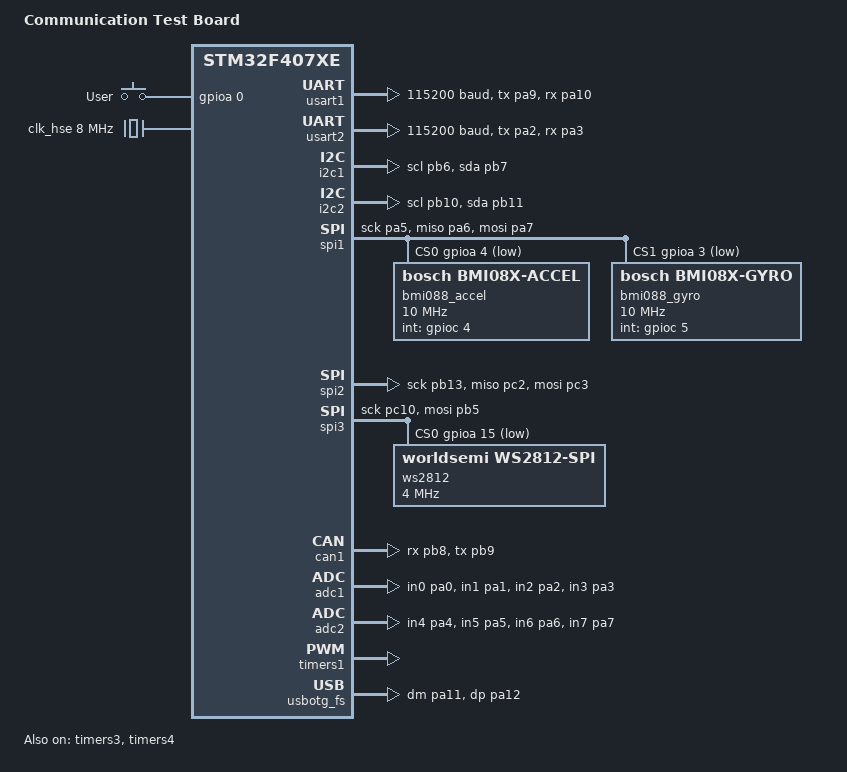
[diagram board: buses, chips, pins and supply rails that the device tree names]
/*
 * SPDX-License-Identifier: Apache-2.0
 */

/dts-v1/;
#include <st/f4/stm32f407Xe.dtsi>
#include <st/f4/stm32f407v(e-g)tx-pinctrl.dtsi>
#include <zephyr/dt-bindings/input/input-event-codes.h>
#include <zephyr/dt-bindings/led/led.h>

/ {
	model = "Communication Test Board";
	compatible = "communication-test";

	chosen {
		zephyr,console = &usart1;
		zephyr,shell-uart = &usart1;
		zephyr,sram = &sram0;
		zephyr,flash = &flash0;
		zephyr,dtcm = &ccm0;
		zephyr,led-strip = &ws2812;
	};

	gpio_keys {
		compatible = "gpio-keys";

		user_button: button {
			label = "User";
			gpios = <&gpioa 0 GPIO_ACTIVE_HIGH>;
			zephyr,code = <INPUT_KEY_0>;
		};
	};

	aliases {
		sw0 = &user_button;
		zephyr-usbbus = &usbotg_fs;
		zephyr-watchdog = &iwdg;
		zephyr-spi1 = &spi1;
		zephyr-spi2 = &spi2;
		zephyr-i2c1 = &i2c1;
		zephyr-i2c2 = &i2c2;
		zephyr-uart1 = &usart1;
		zephyr-uart2 = &usart2;
		zephyr-can1 = &can1;
		zephyr-adc1 = &adc1;
		zephyr-adc2 = &adc2;
		zephyr-imu0-accel = &bmi088_accel;
		zephyr-imu0-gyro = &bmi088_gyro;
		zephyr-pwm-motor = &timers1_pwm;
		zephyr-qdec0 = &qdec0;
		zephyr-qdec1 = &qdec1;
	};
};

/* HSE — 8 MHz crystal (typical for STM32F407 boards) */
&clk_hse {
	clock-frequency = <DT_FREQ_M(8)>;
	status = "okay";
};

&pll {
	div-m = <8>;
	mul-n = <336>;
	div-p = <2>;
	div-q = <7>;
	clocks = <&clk_hse>;
	status = "okay";
};

&rcc {
	clocks = <&pll>;
	clock-frequency = <DT_FREQ_M(168)>;
	ahb-prescaler = <1>;
	apb1-prescaler = <4>;
	apb2-prescaler = <2>;
};

/* ── USART ──────────────────────────────────────────────────────────────── */

/* USART1 — console (PA9/PA10) */
&usart1 {
	pinctrl-0 = <&usart1_tx_pa9 &usart1_rx_pa10>;
	pinctrl-names = "default";
	current-speed = <115200>;
	status = "okay";
};

/* USART2 — additional UART (PA2/PA3) */
&usart2 {
	pinctrl-0 = <&usart2_tx_pa2 &usart2_rx_pa3>;
	pinctrl-names = "default";
	current-speed = <115200>;
	status = "okay";
};

/* ── I2C ────────────────────────────────────────────────────────────────── */

/* I2C1 (PB6/PB7) */
&i2c1 {
	pinctrl-0 = <&i2c1_scl_pb6 &i2c1_sda_pb7>;
	pinctrl-names = "default";
	status = "okay";
};

/* I2C2 (PB10/PB11) */
&i2c2 {
	pinctrl-0 = <&i2c2_scl_pb10 &i2c2_sda_pb11>;
	pinctrl-names = "default";
	status = "okay";
};

/* ── SPI ────────────────────────────────────────────────────────────────── */

/* SPI1 (PA5/PA6/PA7) — BMI088 accel + gyro */
&spi1 {
	pinctrl-0 = <&spi1_sck_pa5 &spi1_miso_pa6 &spi1_mosi_pa7>;
	pinctrl-names = "default";
	cs-gpios = <&gpioa 4 GPIO_ACTIVE_LOW   /* accel CS */
		    &gpioa 3 GPIO_ACTIVE_LOW>;  /* gyro CS  */
	status = "okay";

	bmi088_accel: bmi088-accel@0 {
		compatible = "bosch,bmi08x-accel";
		reg = <0>;
		spi-max-frequency = <DT_FREQ_M(10)>;
		accel-fs = <16>;
		accel-hz = "1600";
		int-gpios = <&gpioc 4 GPIO_ACTIVE_HIGH>;
	};

	bmi088_gyro: bmi088-gyro@1 {
		compatible = "bosch,bmi08x-gyro";
		reg = <1>;
		spi-max-frequency = <DT_FREQ_M(10)>;
		gyro-fs = <2000>;
		gyro-hz = "2000_532";
		int-gpios = <&gpioc 5 GPIO_ACTIVE_HIGH>;
	};
};

/* SPI2 (PB13/PC2/PC3) */
&spi2 {
	pinctrl-0 = <&spi2_sck_pb13 &spi2_miso_pc2 &spi2_mosi_pc3>;
	pinctrl-names = "default";
	status = "okay";
};

/* SPI3 — WS2812 LED strip (MOSI only via PB5) */
&spi3 {
	pinctrl-0 = <&spi3_sck_pc10 &spi3_mosi_pb5>;
	pinctrl-names = "default";
	cs-gpios = <&gpioa 15 GPIO_ACTIVE_LOW>;
	status = "okay";

	ws2812: ws2812@0 {
		reg = <0>;
		compatible = "worldsemi,ws2812-spi";
		chain-length = <1>;
		color-mapping = <LED_COLOR_ID_GREEN
				 LED_COLOR_ID_RED
				 LED_COLOR_ID_BLUE>;
		spi-max-frequency = <DT_FREQ_M(4)>;
		reset-delay = <50>;
		spi-one-frame = <0x6>;
		spi-zero-frame = <0x4>;
		bits-per-symbol = <3>;
	};
};

/* ── CAN ────────────────────────────────────────────────────────────────── */

/* CAN1 (PB8/PB9) — moved from PA11/PA12 to avoid conflict with USB FS */
&can1 {
	pinctrl-0 = <&can1_rx_pb8 &can1_tx_pb9>;
	pinctrl-names = "default";
	status = "okay";
};

/* ── ADC ────────────────────────────────────────────────────────────────── */

/* ADC1 — 4 channels (PA0~PA3) */
&adc1 {
	pinctrl-0 = <&adc1_in0_pa0 &adc1_in1_pa1 &adc1_in2_pa2 &adc1_in3_pa3>;
	pinctrl-names = "default";
	st,adc-prescaler = <2>;
	status = "okay";
};

/* ADC2 — 4 channels (PA4~PA7) */
&adc2 {
	pinctrl-0 = <&adc2_in4_pa4 &adc2_in5_pa5 &adc2_in6_pa6 &adc2_in7_pa7>;
	pinctrl-names = "default";
	st,adc-prescaler = <2>;
	status = "okay";
};

/* ── Timers / PWM / QDEC ───────────────────────────────────────────────── */

/* TIM1 PWM — CH1 (PE9) + CH2 (PE11) */
&timers1 {
	status = "okay";

	timers1_pwm: pwm {
		pinctrl-0 = <&tim1_ch1_pe9 &tim1_ch2_pe11>;
		pinctrl-names = "default";
		status = "okay";
	};
};

/* TIM3 — Quadrature decoder (PC6/PC7) */
&timers3 {
	status = "okay";

	qdec0: qdec {
		pinctrl-0 = <&tim3_ch1_pc6 &tim3_ch2_pc7>;
		pinctrl-names = "default";
		st,counts-per-revolution = <65535>;
		st,encoder-mode = <0x3>;
		status = "okay";
	};
};

/* TIM4 — Quadrature decoder (PD12/PD13) */
&timers4 {
	status = "okay";

	qdec1: qdec {
		pinctrl-0 = <&tim4_ch1_pd12 &tim4_ch2_pd13>;
		pinctrl-names = "default";
		st,counts-per-revolution = <65535>;
		st,encoder-mode = <0x3>;
		status = "okay";
	};
};

/* ── USB ────────────────────────────────────────────────────────────────── */

/* USB OTG FS (PA11/PA12) */
zephyr_udc0: &usbotg_fs {
	pinctrl-0 = <&usb_otg_fs_dm_pa11 &usb_otg_fs_dp_pa12>;
	pinctrl-names = "default";
	status = "okay";
};

/* ── Watchdog ───────────────────────────────────────────────────────────── */
/* IWDG completely disabled */
/* &iwdg { status = "okay"; }; */
